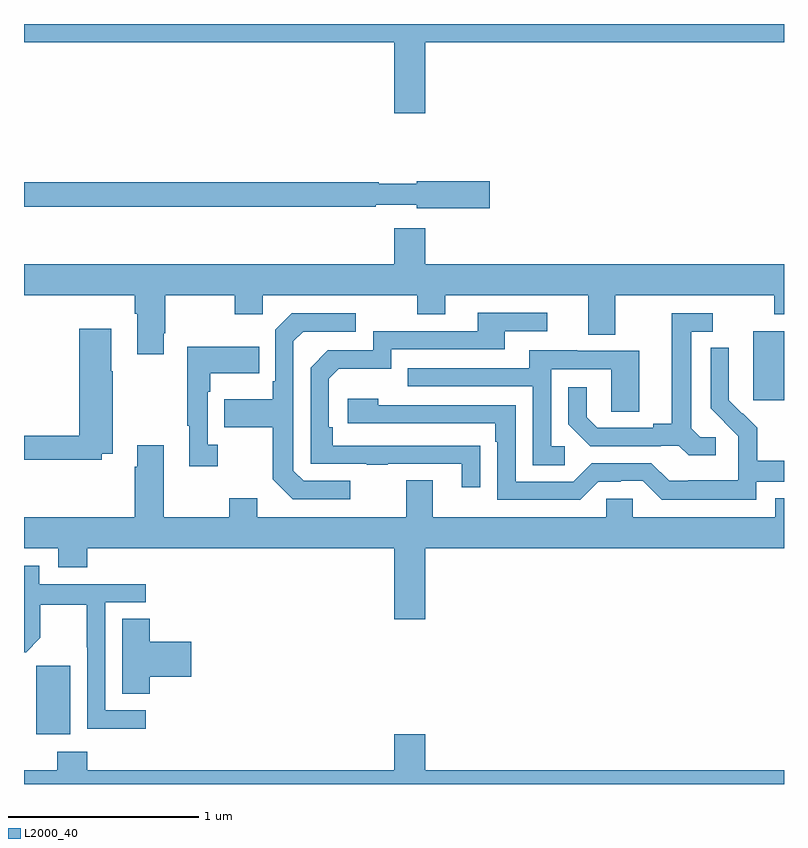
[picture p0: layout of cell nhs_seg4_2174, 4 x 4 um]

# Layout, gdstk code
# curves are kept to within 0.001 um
import gdstk
lib = gdstk.Library(unit=1e-6, precision=1e-09)
def R(c, l, rs):  # rectangles x0, y0, x1, y1
    for r in rs: c.add(gdstk.rectangle(r[:2], r[2:], *l))
def P(c, l, *ps):  # polygons
    for p in ps: c.add(gdstk.Polygon(p, *l))
L2000_40 = (2000, 40)

nhs_seg4_2174 = lib.new_cell('nhs_seg4_2174')
R(nhs_seg4_2174, L2000_40, [(223.064,809.162,223.243,809.523), (226.838,810.921,227,811.282)])
P(nhs_seg4_2174, L2000_40, [(225.112,812.804),(227,812.804),(227,812.9),(223,812.9),(223,812.804),(224.948,812.804),(224.948,812.43),(225.112,812.43)],
  [(225.451,812.072),(225.066,812.072),(225.066,812.059),(224.866,812.059),(224.866,812.066),(223,812.066),(223,811.938),(224.852,811.938),(224.852,811.95),(225.066,811.95),(225.066,811.93),(225.451,811.93)],
  [(223.735,811.273),(223.743,811.273),(223.743,811.472),(224.11,811.472),(224.11,811.373),(224.256,811.373),(224.256,811.472),(225.07,811.472),(225.07,811.373),(225.217,811.373),(225.217,811.472),(225.971,811.472),(225.971,811.264),(226.111,811.264),(226.111,811.472),(226.948,811.472),(226.948,811.373),(227,811.373),(227,811.636),(225.112,811.636),(225.112,811.825),(224.948,811.825),(224.948,811.636),(223,811.636),(223,811.472),(223.583,811.472),(223.583,811.376),(223.595,811.376),(223.595,811.161),(223.735,811.161)],
  [(225.401,810.68),(224.624,810.681),(224.624,810.778),(224.604,810.778),(224.604,811.032),(224.657,811.085),(224.934,811.085),(224.934,811.188),(225.529,811.188),(225.529,811.284),(225.754,811.284),(225.754,811.38),(225.389,811.38),(225.389,811.284),(224.838,811.284),(224.838,811.182),(224.598,811.182),(224.508,811.092),(224.508,810.585),(224.803,810.585),(224.803,810.58),(224.915,810.58),(224.915,810.585),(225.305,810.585),(225.305,810.462),(225.401,810.462)],
  [(224.716,810.495),(224.472,810.495),(224.418,810.549),(224.418,811.23),(224.469,811.281),(224.746,811.281),(224.746,811.377),(224.409,811.377),(224.322,811.29),(224.322,811.021),(224.31,811.021),(224.31,810.925),(224.053,810.925),(224.053,810.778),(224.31,810.778),(224.31,810.505),(224.415,810.399),(224.716,810.399)],
  [(226.642,810.726),(226.56,810.726),(226.513,810.773),(226.513,811.281),(226.624,811.281),(226.624,811.377),(226.409,811.377),(226.409,810.797),(226.313,810.797),(226.313,810.774),(226.018,810.774),(225.961,810.831),(225.961,810.988),(225.864,810.988),(225.864,810.794),(225.98,810.678),(226.352,810.678),(226.352,810.681),(226.446,810.681),(226.498,810.629),(226.642,810.629)],
  [(223.41,810.638),(223.467,810.638),(223.467,811.073),(223.459,811.073),(223.459,811.297),(223.292,811.297),(223.292,810.734),(223,810.734),(223,810.606),(223.41,810.606)],
  [(224.02,810.686),(223.968,810.686),(223.968,810.965),(223.981,810.965),(223.981,811.061),(224.237,811.061),(224.237,811.201),(223.86,811.201),(223.86,810.785),(223.871,810.785),(223.871,810.573),(224.02,810.573)],
  [(226.854,810.492),(227,810.492),(227,810.601),(226.859,810.601),(226.859,810.775),(226.782,810.852),(226.779,810.849),(226.709,810.92),(226.71,811.196),(226.614,811.196),(226.614,810.878),(226.76,810.73),(226.76,810.633),(226.758,810.633),(226.758,810.499),(226.495,810.499),(226.495,810.495),(226.395,810.495),(226.302,810.588),(225.987,810.588),(225.891,810.492),(225.588,810.492),(225.588,810.894),(224.864,810.894),(224.864,810.928),(224.703,810.928),(224.703,810.798),(225.479,810.798),(225.479,810.701),(225.492,810.701),(225.492,810.396),(225.927,810.396),(226.023,810.492),(226.142,810.492),(226.142,810.495),(226.257,810.495),(226.357,810.395),(226.854,810.395)],
  [(225.847,810.678),(225.774,810.678),(225.774,811.083),(226.092,811.083),(226.092,810.859),(226.237,810.859),(226.237,811.179),(225.913,811.179),(225.913,811.183),(225.659,811.183),(225.659,811.089),(225.019,811.089),(225.019,810.993),(225.678,810.993),(225.678,810.577),(225.847,810.577)],
  [(225.112,810.14),(227,810.14),(227,810.403),(226.955,810.403),(226.955,810.304),(226.203,810.304),(226.203,810.402),(226.065,810.402),(226.065,810.304),(225.151,810.304),(225.151,810.499),(225.011,810.499),(225.011,810.304),(224.227,810.304),(224.227,810.403),(224.08,810.403),(224.08,810.304),(223.735,810.304),(223.735,810.682),(223.595,810.682),(223.595,810.569),(223.583,810.569),(223.583,810.304),(223,810.304),(223,810.14),(223.181,810.14),(223.181,810.041),(223.334,810.041),(223.334,810.14),(224.948,810.14),(224.948,809.766),(225.112,809.766)],
  [(223.642,809.289),(223.428,809.289),(223.428,809.856),(223.642,809.856),(223.642,809.952),(223.08,809.952),(223.08,810.049),(223,810.049),(223,809.59),(223.005,809.595),(223.008,809.592),(223.085,809.669),(223.085,809.844),(223.33,809.844),(223.33,809.62),(223.332,809.62),(223.332,809.191),(223.642,809.191)],
  [(223.661,809.465),(223.879,809.465),(223.879,809.648),(223.661,809.648),(223.661,809.771),(223.517,809.771),(223.517,809.374),(223.661,809.374)],
  [(227,808.972),(225.112,808.972),(225.112,809.161),(224.948,809.161),(224.948,808.972),(223.334,808.972),(223.334,809.071),(223.174,809.071),(223.174,808.972),(223,808.972),(223,808.9),(227,808.9)])

lib.write_gds('nhs_seg4_2174.gds')
